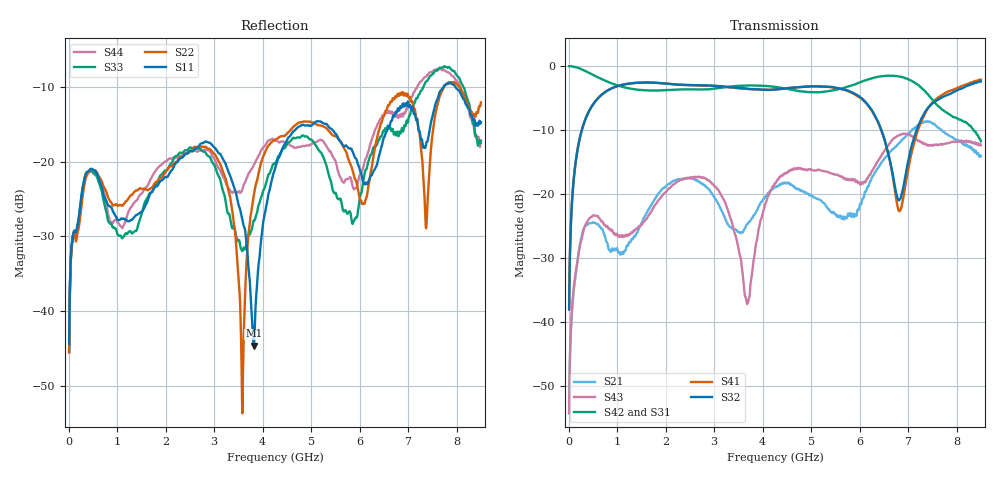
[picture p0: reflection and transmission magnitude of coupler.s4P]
!Mini-Circuits Laboratory
!S-Parameters
!Model: QCH-63B+
!Run/Date Code:1830
!DATA FOR: UNIT # 1
!Unit soldered on TB-998+
!Freq	S11:SOLT4(ON)	S12:SOLT4(ON)	S13:SOLT4(ON)	S14:SOLT4(ON)
!	S21:SOLT4(ON)	S22:SOLT4(ON)	S23:SOLT4(ON)	S24:SOLT4(ON)
!	S31:SOLT4(ON)	S32:SOLT4(ON)	S33:SOLT4(ON)	S34:SOLT4(ON)
!	S41:SOLT4(ON)	S42:SOLT4(ON)	S43:SOLT4(ON)	S44:SOLT4(ON)
!PortZ  Port1:50+j0  Port2:50+j0  Port3:50+j0  Port4:50+j0
!Above PortZ is port z conversion or system Z0 setting when saving the data.
!When reading, reference impedance value at option line is always used.
!Connection: PORT-1 - pin<1>;  PORT-2 - pin<2>;  PORT-3- pin<3>; PORT-4- pin<4>
!PORT EXTENSION DONE ON TEST BOARD WITH LOSS ON AND MISMATCH ON
!Agilent Technologies,E5071C,MY46101856,A.11.31
!Date: Sun Jul 29 04:15:24 2018
# Hz S RI R 50
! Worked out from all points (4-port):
!   1601 points, 10 MHz to 8.5 GHz, reference 50 ohm
!   strongest paths, dB at 10 MHz, 2.295 GHz, 4.295 GHz, 6.295 GHz, 8.5 GHz:
!     S32: -38.0, -3.0, -3.7, -7.5, -2.5
!     S41: -38.0, -3.0, -3.7, -7.6, -2.2
!     S42: -0.1, -3.7, -3.4, -1.9, -11.8
!     S31: -0.1, -3.7, -3.3, -1.9, -11.6
!     S43: -54.2, -17.8, -17.9, -15.9, -12.4
!     S21: -54.2, -17.7, -18.8, -16.9, -14.1
!   lowest |S11| = -44.6 dB at 3.815 GHz (marker M1), VSWR 1.01, Z = 50.6 + j0.158 ohm
!   |S11| at or under -10 dB: start of sweep to 7.728 GHz; 7.977 GHz to end of sweep
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1e7  -0.000419 -0.00604  0.000113 0.00195  0.9888 -0.031  0.000443 0.0126
     0.000115 0.00195  -2.29e-05 -0.00534  0.000443 0.0126  0.9883 -0.0308
     0.9879 -0.0308  0.000441 0.0126  0.000232 -0.00537  9.47e-05 0.00196
     0.000445 0.0126  0.9886 -0.0309  9.58e-05 0.00196  -2.21e-05 -0.00528
1.145e9  0.00442 0.0412  -0.0226 -0.028  -0.6638 -0.1334  0.127 -0.7021
         -0.0225 -0.0277  0.00421 0.0524  0.1421 -0.6986  -0.6652 -0.1242
         -0.6632 -0.1338  0.142 -0.6984  0.0225 0.0227  -0.0448 -0.015
         0.1273 -0.7017  -0.6653 -0.1241  -0.045 -0.0149  0.0189 0.033
2.845e9  0.1101 -0.08  0.0405 -0.1061  0.5517 -0.3463  0.3669 0.5926
         0.0403 -0.106  0.101 -0.0725  0.3564 0.6026  0.5402 -0.3646
         0.5514 -0.3453  0.3569 0.6022  0.0276 -0.1085  -0.0438 -0.1223
         0.3663 0.5926  0.54 -0.3653  -0.0435 -0.1227  0.0347 -0.1148
3.585e9  0.0115 -0.0389  -0.0455 -0.0201  -0.4956 -0.4898  0.4615 -0.4758
         -0.0458 -0.0201  0.00179 0.00117  0.4628 -0.4783  -0.5177 -0.4667
         -0.4942 -0.4902  0.4626 -0.4783  -0.0226 0.0113  -0.0071 0.0225
         0.4618 -0.4748  -0.5178 -0.4664  -0.00689 0.0236  -0.0604 0.0259
3.815e9  0.00567 0.00156  -0.0677 -0.00267  -0.6901 -0.1364  0.1243 -0.641
         -0.0678 -0.00236  0.00265 0.0593  0.1196 -0.6433  -0.6916 -0.1007
         -0.6889 -0.1379  0.1196 -0.6431  -0.0155 0.0374  -0.0305 0.00145
         0.1253 -0.6405  -0.6917 -0.1005  -0.0306 0.00248  -0.0252 0.0914
5.12e9  0.1823 0.0409  0.0485 -0.0785  0.6123 0.0737  -0.0616 0.6854
        0.0485 -0.0775  0.1534 0.0891  -0.0644 0.6868  0.6173 0.0386
        0.6114 0.0762  -0.0656 0.686  0.1193 -0.0378  -0.000391 -0.1526
        -0.064 0.6842  0.6172 0.0386  -0.00155 -0.1532  0.1357 0.0137
8.5e9  -0.0237 0.1831  0.1873 -0.0491  -0.255 0.0659  0.2611 0.7339
       0.1902 -0.0497  -0.0612 0.2418  0.1739 0.7349  -0.245 0.0736
       -0.2563 0.0642  0.1729 0.7319  -0.0453 0.1295  0.2079 -0.1093
       0.2526 0.7337  -0.2469 0.0711  0.2134 -0.1079  0.012 0.1388
